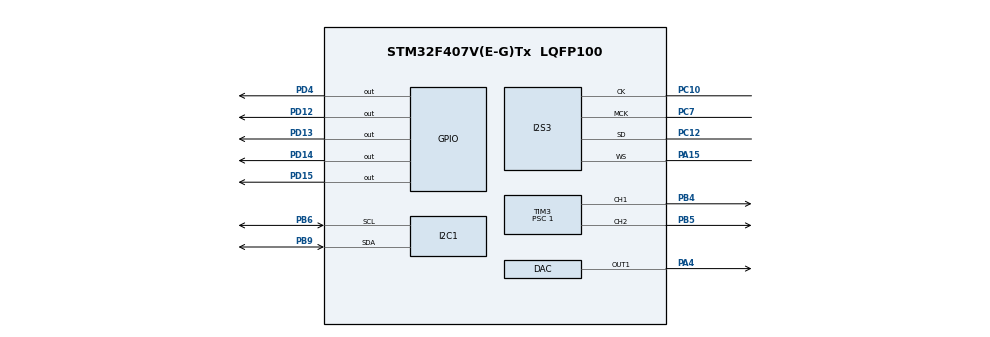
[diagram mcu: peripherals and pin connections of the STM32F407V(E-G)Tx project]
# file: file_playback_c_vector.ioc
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Dma.Request0=SPI3_TX
Dma.SPI3_TX.0.Direction=DMA_MEMORY_TO_PERIPH
Dma.SPI3_TX.0.FIFOMode=DMA_FIFOMODE_ENABLE
Dma.SPI3_TX.0.FIFOThreshold=DMA_FIFO_THRESHOLD_FULL
Dma.SPI3_TX.0.Instance=DMA1_Stream5
Dma.SPI3_TX.0.MemBurst=DMA_MBURST_SINGLE
Dma.SPI3_TX.0.MemDataAlignment=DMA_MDATAALIGN_HALFWORD
Dma.SPI3_TX.0.MemInc=DMA_MINC_ENABLE
Dma.SPI3_TX.0.Mode=DMA_CIRCULAR
Dma.SPI3_TX.0.PeriphBurst=DMA_PBURST_SINGLE
Dma.SPI3_TX.0.PeriphDataAlignment=DMA_PDATAALIGN_HALFWORD
Dma.SPI3_TX.0.PeriphInc=DMA_PINC_DISABLE
Dma.SPI3_TX.0.Priority=DMA_PRIORITY_LOW
I2S3.AudioFreq=I2S_AUDIOFREQ_48K
I2S3.ErrorAudioFreq=1.72 %
I2S3.FullDuplexMode=I2S_FULLDUPLEXMODE_DISABLE
I2S3.Instance=SPI$Index
I2S3.RealAudioFreq=48.828 KHz
I2S3.VirtualMode=I2S_MODE_MASTER
Mcu.Family=STM32F4
Mcu.Name=STM32F407V(E-G)Tx
Mcu.Package=LQFP100
NVIC.DMA1_Stream5_IRQn=true\:0\:0\:false\:false\:true\:false\:true\:true
NVIC.PriorityGroup=NVIC_PRIORITYGROUP_0
NVIC.TIM3_IRQn=true\:0\:0\:false\:false\:true\:true\:true\:true
PA15.Mode=Half_Duplex_Master
PA15.Signal=I2S3_WS
PA4.Signal=COMP_DAC1_group
PB4.Signal=S_TIM3_CH1
PB5.Signal=S_TIM3_CH2
PB6.Mode=I2C
PB6.Signal=I2C1_SCL
PB9.Mode=I2C
PB9.Signal=I2C1_SDA
PC10.Mode=Half_Duplex_Master
PC10.Signal=I2S3_CK
PC12.Mode=Half_Duplex_Master
PC12.Signal=I2S3_SD
PC7.Mode=Master_Clock_Activated
PC7.Signal=I2S3_MCK
PD12.Signal=GPIO_Output
PD13.Signal=GPIO_Output
PD14.Signal=GPIO_Output
PD15.Signal=GPIO_Output
PD4.Signal=GPIO_Output
PH0-OSC_IN.Mode=HSE-External-Oscillator
PH0-OSC_IN.Signal=RCC_OSC_IN
PH1-OSC_OUT.Mode=HSE-External-Oscillator
PH1-OSC_OUT.Signal=RCC_OSC_OUT
ProjectManager.HeapSize=0x200
ProjectManager.StackSize=0x400
ProjectManager.TargetToolchain=STM32CubeIDE
RCC.48MHZClocksFreq_Value=18285714.285714287
RCC.AHBFreq_Value=64000000
RCC.APB1CLKDivider=RCC_HCLK_DIV2
RCC.APB1Freq_Value=32000000
RCC.APB1TimFreq_Value=64000000
RCC.APB2CLKDivider=RCC_HCLK_DIV2
RCC.APB2Freq_Value=32000000
RCC.APB2TimFreq_Value=64000000
RCC.CortexFreq_Value=64000000
RCC.HCLKFreq_Value=64000000
RCC.HSE_VALUE=8000000
RCC.HSI_VALUE=16000000
RCC.LSE_VALUE=32768
RCC.PLLI2SN=50
RCC.PLLM=4
RCC.PLLN=64
RCC.PLLQ=7
RCC.PLLSourceVirtual=RCC_PLLSOURCE_HSE
RCC.SYSCLKFreq_VALUE=64000000
RCC.SYSCLKSource=RCC_SYSCLKSOURCE_PLLCLK
RCC.VCOOutputFreq_Value=128000000
SH.COMP_DAC1_group.0=DAC_OUT1,DAC_OUT1
SH.S_TIM3_CH1.0=TIM3_CH1,PWM Generation1 CH1
SH.S_TIM3_CH2.0=TIM3_CH2,PWM Generation2 CH2
TIM3.Channel-PWM\ Generation1\ CH1=TIM_CHANNEL_1
TIM3.Channel-PWM\ Generation2\ CH2=TIM_CHANNEL_2
TIM3.Period=255
TIM3.Prescaler=1
VP_TIM3_VS_ClockSourceINT.Mode=Internal
board=STM32F407G-DISC1

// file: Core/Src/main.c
/* USER CODE BEGIN Header */
/**
  ******************************************************************************
  * @file           : main.c
  * @brief          : Main program body
  ******************************************************************************
  * @attention
  *
  * Copyright (c) 2023 STMicroelectronics.
  * All rights reserved.
  *
  * This software is licensed under terms that can be found in the LICENSE file
  * in the root directory of this software component.
  * If no LICENSE file comes with this software, it is provided AS-IS.
  *
  ******************************************************************************
  */
/* USER CODE END Header */
#include "main.h"

/* USER CODE BEGIN Includes */
#include "adpcm.h"
/* USER CODE END Includes */

/* USER CODE BEGIN PD */
#define DEFAULT_STARTUP_VAL (0x80)
/* USER CODE END PD */

DAC_HandleTypeDef hdac;

I2S_HandleTypeDef hi2s3;
DMA_HandleTypeDef hdma_spi3_tx;

/* USER CODE BEGIN PV */
void LoadAudioFiles(void);
/* USER CODE END PV */

void SystemClock_Config(void);
void PeriphCommonClock_Config(void);
static void MX_GPIO_Init(void);
static void MX_DMA_Init(void);
static void MX_I2C1_Init(void);
static void MX_I2S3_Init(void);
static void MX_DAC_Init(void);
static void MX_TIM3_Init(void);

/* USER CODE BEGIN 0 */
AudioElement AudioFile;
uint8_t AudioFileToPlay = 0;
/* USER CODE END 0 */

int main(void)
{

  /* MCU Configuration--------------------------------------------------------*/

  /* Reset of all peripherals, Initializes the Flash interface and the Systick. */
  HAL_Init();

  /* Configure the system clock */
  SystemClock_Config();

/* Configure the peripherals common clocks */
  PeriphCommonClock_Config();

  /* Initialize all configured peripherals */
  MX_GPIO_Init();
  MX_DMA_Init();
  MX_I2C1_Init();
  MX_I2S3_Init();
  MX_DAC_Init();
  MX_TIM3_Init();
  /* USER CODE BEGIN 2 */
  LoadAudioFiles();
  /* USER CODE END 2 */

  /* Infinite loop */
  /* USER CODE BEGIN WHILE */
#ifdef USE_DAC
	HAL_DAC_Start(&hdac1, DAC_CHANNEL_1);
	HAL_DAC_SetValue(&hdac1, DAC_CHANNEL_1, DAC_ALIGN_12B_R, 0x7FF);
#endif
	// capture/compare registers (CC1 PWM duty 50%)
	TIM3->CCR1 = DEFAULT_STARTUP_VAL;
	TIM3->CCR2 = DEFAULT_STARTUP_VAL;
	LL_TIM_EnableIT_UPDATE(TIM3);
	TIM3->CCER |= TIM_CCER_CC2E | TIM_CCER_CC1E;
	LL_TIM_EnableCounter(TIM3);

	//*(x8000)
	while (1)
	{
    /* USER CODE END WHILE */

    /* USER CODE BEGIN 3 */
		//i think this whole block was going with a button thing, but we aren't using a button -db
//		if(!HAL_GPIO_ReadPin((BT1_GPIO_Port,BT1_Pin)))
//		{
//			while(!HAL_GPIO_ReadPin(BT1_GPIO_Port,BT1_Pin));
//			if(AudioFileToPlay>=1)
//			{
//				AudioFileToPlay = 0;
//			}else
//			{
//				AudioFileToPlay++;
//			}
//			/* Disable the TIM3 Interrupt */
//			NVIC_EnableIRQ(TIM3_IRQn);
//			// stop the timer
//			LL_TIM_EnableCounter(TIM3);
//		}
		NVIC_EnableIRQ(TIM3_IRQn); //trying these three instructions
		LL_TIM_EnableCounter(TIM3);
		HAL_Delay(100);
	}
  /* USER CODE END 3 */
}

void SystemClock_Config(void)
{
  LL_FLASH_SetLatency(LL_FLASH_LATENCY_2);
  while(LL_FLASH_GetLatency()!= LL_FLASH_LATENCY_2)
  {
  }
  LL_PWR_SetRegulVoltageScaling(LL_PWR_REGU_VOLTAGE_SCALE1);
  LL_RCC_HSE_Enable();

   /* Wait till HSE is ready */
  while(LL_RCC_HSE_IsReady() != 1)
  {

  }
  LL_RCC_PLL_ConfigDomain_SYS(LL_RCC_PLLSOURCE_HSE, LL_RCC_PLLM_DIV_4, 64, LL_RCC_PLLP_DIV_2);
  LL_RCC_PLL_Enable();

   /* Wait till PLL is ready */
  while(LL_RCC_PLL_IsReady() != 1)
  {

  }
  while (LL_PWR_IsActiveFlag_VOS() == 0)
  {
  }
  LL_RCC_SetAHBPrescaler(LL_RCC_SYSCLK_DIV_1);
  LL_RCC_SetAPB1Prescaler(LL_RCC_APB1_DIV_2);
  LL_RCC_SetAPB2Prescaler(LL_RCC_APB2_DIV_2);
  LL_RCC_SetSysClkSource(LL_RCC_SYS_CLKSOURCE_PLL);

   /* Wait till System clock is ready */
  while(LL_RCC_GetSysClkSource() != LL_RCC_SYS_CLKSOURCE_STATUS_PLL)
  {

  }
  LL_SetSystemCoreClock(64000000);

   /* Update the time base */
  if (HAL_InitTick (TICK_INT_PRIORITY) != HAL_OK)
  {
    Error_Handler();
  }
}

void PeriphCommonClock_Config(void)
{
  LL_RCC_PLLI2S_ConfigDomain_I2S(LL_RCC_PLLSOURCE_HSE, LL_RCC_PLLI2SM_DIV_4, 50, LL_RCC_PLLI2SR_DIV_2);
  LL_RCC_PLLI2S_Enable();

   /* Wait till PLL is ready */
  while(LL_RCC_PLLI2S_IsReady() != 1)
  {

  }
}

static void MX_DAC_Init(void)
{

  DAC_ChannelConfTypeDef sConfig = {0};

  /** DAC Initialization
  */
  hdac.Instance = DAC;
  if (HAL_DAC_Init(&hdac) != HAL_OK)
  {
    Error_Handler();
  }

  /** DAC channel OUT1 config
  */
  sConfig.DAC_Trigger = DAC_TRIGGER_NONE;
  sConfig.DAC_OutputBuffer = DAC_OUTPUTBUFFER_ENABLE;
  if (HAL_DAC_ConfigChannel(&hdac, &sConfig, DAC_CHANNEL_1) != HAL_OK)
  {
    Error_Handler();
  }

}

static void MX_I2C1_Init(void)
{

  LL_I2C_InitTypeDef I2C_InitStruct = {0};

  LL_GPIO_InitTypeDef GPIO_InitStruct = {0};

  LL_AHB1_GRP1_EnableClock(LL_AHB1_GRP1_PERIPH_GPIOB);
  /**I2C1 GPIO Configuration
  PB6   ------> I2C1_SCL
  PB9   ------> I2C1_SDA
  */
  GPIO_InitStruct.Pin = LL_GPIO_PIN_6|LL_GPIO_PIN_9;
  GPIO_InitStruct.Mode = LL_GPIO_MODE_ALTERNATE;
  GPIO_InitStruct.Speed = LL_GPIO_SPEED_FREQ_VERY_HIGH;
  GPIO_InitStruct.OutputType = LL_GPIO_OUTPUT_OPENDRAIN;
  GPIO_InitStruct.Pull = LL_GPIO_PULL_NO;
  GPIO_InitStruct.Alternate = LL_GPIO_AF_4;
  LL_GPIO_Init(GPIOB, &GPIO_InitStruct);

  /* Peripheral clock enable */
  LL_APB1_GRP1_EnableClock(LL_APB1_GRP1_PERIPH_I2C1);

  /** I2C Initialization
  */
  LL_I2C_DisableOwnAddress2(I2C1);
  LL_I2C_DisableGeneralCall(I2C1);
  LL_I2C_EnableClockStretching(I2C1);
  I2C_InitStruct.PeripheralMode = LL_I2C_MODE_I2C;
  I2C_InitStruct.ClockSpeed = 100000;
  I2C_InitStruct.DutyCycle = LL_I2C_DUTYCYCLE_2;
  I2C_InitStruct.OwnAddress1 = 0;
  I2C_InitStruct.TypeAcknowledge = LL_I2C_ACK;
  I2C_InitStruct.OwnAddrSize = LL_I2C_OWNADDRESS1_7BIT;
  LL_I2C_Init(I2C1, &I2C_InitStruct);
  LL_I2C_SetOwnAddress2(I2C1, 0);

}

static void MX_I2S3_Init(void)
{

  hi2s3.Instance = SPI3;
  hi2s3.Init.Mode = I2S_MODE_MASTER_TX;
  hi2s3.Init.Standard = I2S_STANDARD_PHILIPS;
  hi2s3.Init.DataFormat = I2S_DATAFORMAT_16B;
  hi2s3.Init.MCLKOutput = I2S_MCLKOUTPUT_ENABLE;
  hi2s3.Init.AudioFreq = I2S_AUDIOFREQ_48K;
  hi2s3.Init.CPOL = I2S_CPOL_LOW;
  hi2s3.Init.ClockSource = I2S_CLOCK_PLL;
  hi2s3.Init.FullDuplexMode = I2S_FULLDUPLEXMODE_DISABLE;
  if (HAL_I2S_Init(&hi2s3) != HAL_OK)
  {
    Error_Handler();
  }

}

static void MX_TIM3_Init(void)
{

  LL_TIM_InitTypeDef TIM_InitStruct = {0};
  LL_TIM_OC_InitTypeDef TIM_OC_InitStruct = {0};

  LL_GPIO_InitTypeDef GPIO_InitStruct = {0};

  /* Peripheral clock enable */
  LL_APB1_GRP1_EnableClock(LL_APB1_GRP1_PERIPH_TIM3);

  /* TIM3 interrupt Init */
  NVIC_SetPriority(TIM3_IRQn, NVIC_EncodePriority(NVIC_GetPriorityGrouping(),0, 0));
  NVIC_EnableIRQ(TIM3_IRQn);

  TIM_InitStruct.Prescaler = 1;
  TIM_InitStruct.CounterMode = LL_TIM_COUNTERMODE_UP;
  TIM_InitStruct.Autoreload = 255;
  TIM_InitStruct.ClockDivision = LL_TIM_CLOCKDIVISION_DIV1;
  LL_TIM_Init(TIM3, &TIM_InitStruct);
  LL_TIM_DisableARRPreload(TIM3);
  LL_TIM_SetClockSource(TIM3, LL_TIM_CLOCKSOURCE_INTERNAL);
  LL_TIM_OC_EnablePreload(TIM3, LL_TIM_CHANNEL_CH1);
  TIM_OC_InitStruct.OCMode = LL_TIM_OCMODE_PWM1;
  TIM_OC_InitStruct.OCState = LL_TIM_OCSTATE_DISABLE;
  TIM_OC_InitStruct.OCNState = LL_TIM_OCSTATE_DISABLE;
  TIM_OC_InitStruct.CompareValue = 0;
  TIM_OC_InitStruct.OCPolarity = LL_TIM_OCPOLARITY_HIGH;
  LL_TIM_OC_Init(TIM3, LL_TIM_CHANNEL_CH1, &TIM_OC_InitStruct);
  LL_TIM_OC_DisableFast(TIM3, LL_TIM_CHANNEL_CH1);
  LL_TIM_OC_EnablePreload(TIM3, LL_TIM_CHANNEL_CH2);
  LL_TIM_OC_Init(TIM3, LL_TIM_CHANNEL_CH2, &TIM_OC_InitStruct);
  LL_TIM_OC_DisableFast(TIM3, LL_TIM_CHANNEL_CH2);
  LL_TIM_SetTriggerOutput(TIM3, LL_TIM_TRGO_RESET);
  LL_TIM_DisableMasterSlaveMode(TIM3);
  LL_AHB1_GRP1_EnableClock(LL_AHB1_GRP1_PERIPH_GPIOB);
  /**TIM3 GPIO Configuration
  PB4   ------> TIM3_CH1
  PB5   ------> TIM3_CH2
  */
  GPIO_InitStruct.Pin = LL_GPIO_PIN_4|LL_GPIO_PIN_5;
  GPIO_InitStruct.Mode = LL_GPIO_MODE_ALTERNATE;
  GPIO_InitStruct.Speed = LL_GPIO_SPEED_FREQ_LOW;
  GPIO_InitStruct.OutputType = LL_GPIO_OUTPUT_PUSHPULL;
  GPIO_InitStruct.Pull = LL_GPIO_PULL_NO;
  GPIO_InitStruct.Alternate = LL_GPIO_AF_2;
  LL_GPIO_Init(GPIOB, &GPIO_InitStruct);

}

static void MX_DMA_Init(void)
{

  /* Init with LL driver */
  /* DMA controller clock enable */
  LL_AHB1_GRP1_EnableClock(LL_AHB1_GRP1_PERIPH_DMA1);

  /* DMA interrupt init */
  /* DMA1_Stream5_IRQn interrupt configuration */
  HAL_NVIC_SetPriority(DMA1_Stream5_IRQn, 0, 0);
  HAL_NVIC_EnableIRQ(DMA1_Stream5_IRQn);

}

static void MX_GPIO_Init(void)
{
  LL_GPIO_InitTypeDef GPIO_InitStruct = {0};

  /* GPIO Ports Clock Enable */
  LL_AHB1_GRP1_EnableClock(LL_AHB1_GRP1_PERIPH_GPIOH);
  LL_AHB1_GRP1_EnableClock(LL_AHB1_GRP1_PERIPH_GPIOA);
  LL_AHB1_GRP1_EnableClock(LL_AHB1_GRP1_PERIPH_GPIOD);
  LL_AHB1_GRP1_EnableClock(LL_AHB1_GRP1_PERIPH_GPIOC);
  LL_AHB1_GRP1_EnableClock(LL_AHB1_GRP1_PERIPH_GPIOB);

  /**/
  LL_GPIO_ResetOutputPin(GPIOD, LL_GPIO_PIN_12|LL_GPIO_PIN_13|LL_GPIO_PIN_14|LL_GPIO_PIN_15
                          |LL_GPIO_PIN_4);

  /**/
  GPIO_InitStruct.Pin = LL_GPIO_PIN_12|LL_GPIO_PIN_13|LL_GPIO_PIN_14|LL_GPIO_PIN_15
                          |LL_GPIO_PIN_4;
  GPIO_InitStruct.Mode = LL_GPIO_MODE_OUTPUT;
  GPIO_InitStruct.Speed = LL_GPIO_SPEED_FREQ_LOW;
  GPIO_InitStruct.OutputType = LL_GPIO_OUTPUT_PUSHPULL;
  GPIO_InitStruct.Pull = LL_GPIO_PULL_NO;
  LL_GPIO_Init(GPIOD, &GPIO_InitStruct);

}

/* USER CODE BEGIN 4 */
void LoadAudioFiles(void)
{
	AudioFile.AudioFiles[0] = (uint32_t)&afnm;
	AudioFile.AudioSize[0] = NELEMS(afnm);
}
/* USER CODE END 4 */

void Error_Handler(void)
{
  __disable_irq();
  while (1)
  {
  }
}
